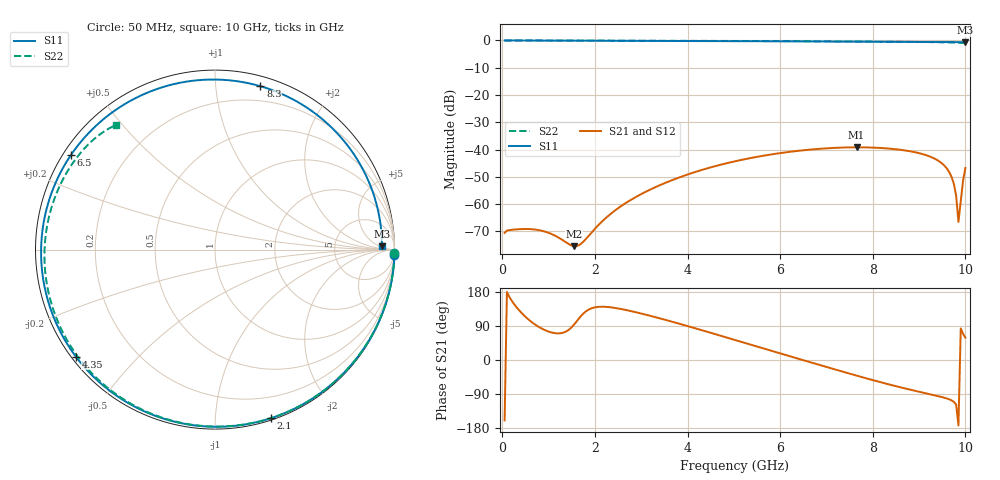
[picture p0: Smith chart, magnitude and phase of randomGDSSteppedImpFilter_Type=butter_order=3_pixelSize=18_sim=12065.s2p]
! freq	dB(S11)	phase(S11)	dB(S12)	phase(S12)
!  dB(S21)	phase(S21)	dB(S22)	phase(S22)
!S-par simulation data
#  GHz  S  DB  R 50
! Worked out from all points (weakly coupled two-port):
!   200 points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, 50 MHz to 10 GHz, reference 50 ohm
!   highest |S21| = -39.15 dB at 7.65 GHz (marker M1); lowest = -75.4 dB at 1.55 GHz (marker M2)
!   lowest |S11| = -0.6 dB at 10 GHz (marker M3), VSWR 27.84, Z = 1.29e+03 + j355 ohm
!   |S11| at or under -10 dB: nowhere
!   |S22| runs from -1.0 to 0.0 dB; largest |S21 - S12| = 0
!   S11 on the Smith chart (normalised r, x): 50 MHz: 0, -65; 2.1 GHz: 0.02, -1.38; 4.35 GHz: 0.01, -0.34; 6.5 GHz: 0.02, +0.30; 8.3 GHz: 0.08, +1.31; 10 GHz: 26, +7
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0.05  -0.00 -1.8  -70.52 -159.5  -70.52 -159.5  -0.00 -1.2
0.8  -0.03 -28.0  -69.53 86.3  -69.53 86.3  -0.02 -19.0
1.55  -0.07 -53.6  -75.38 93.5  -75.38 93.5  -0.05 -36.5
1.75  -0.08 -60.2  -73.73 122.6  -73.73 122.6  -0.05 -41.1
2.1  -0.09 -71.7  -67.23 140.5  -67.23 140.5  -0.06 -49.0
2.65  -0.11 -89.5  -59.75 132.5  -59.75 132.5  -0.08 -61.3
3.4  -0.14 -113.0  -53.05 110.0  -53.05 110.0  -0.10 -77.6
4.35  -0.19 -142.4  -47.24 77.2  -47.24 77.2  -0.14 -97.6
5.05  -0.24 -164.4  -44.18 51.9  -44.18 51.9  -0.17 -112.0
5.8  -0.30 171.1  -41.78 24.7  -41.78 24.7  -0.22 -127.2
6.5  -0.35 146.6  -40.24 -0.5  -40.24 -0.5  -0.27 -141.5
6.7  -0.37 139.3  -39.91 -7.7  -39.91 -7.7  -0.28 -145.7
7.65  -0.45 102.0  -39.15 -41.2  -39.15 -41.2  -0.38 -165.9
8.3  -0.49 74.5  -39.55 -62.9  -39.55 -62.9  -0.45 179.2
8.35  -0.50 72.3  -39.62 -64.4  -39.62 -64.4  -0.46 178.0
9.1  -0.54 39.5  -41.76 -86.6  -41.76 -86.6  -0.57 158.9
9.55  -0.58 19.9  -45.93 -99.7  -45.93 -99.7  -0.68 145.7
9.75  -0.60 11.4  -52.48 -110.3  -52.48 -110.3  -0.77 138.9
9.8  -0.60 9.3  -56.86 -117.5  -56.86 -117.5  -0.80 137.1
9.85  -0.61 7.2  -66.50 -172.7  -66.50 -172.7  -0.84 135.1
9.95  -0.62 3.1  -51.33 68.8  -51.33 68.8  -0.95 130.9
10  -0.62 1.1  -46.72 59.1  -46.72 59.1  -1.04 128.6
